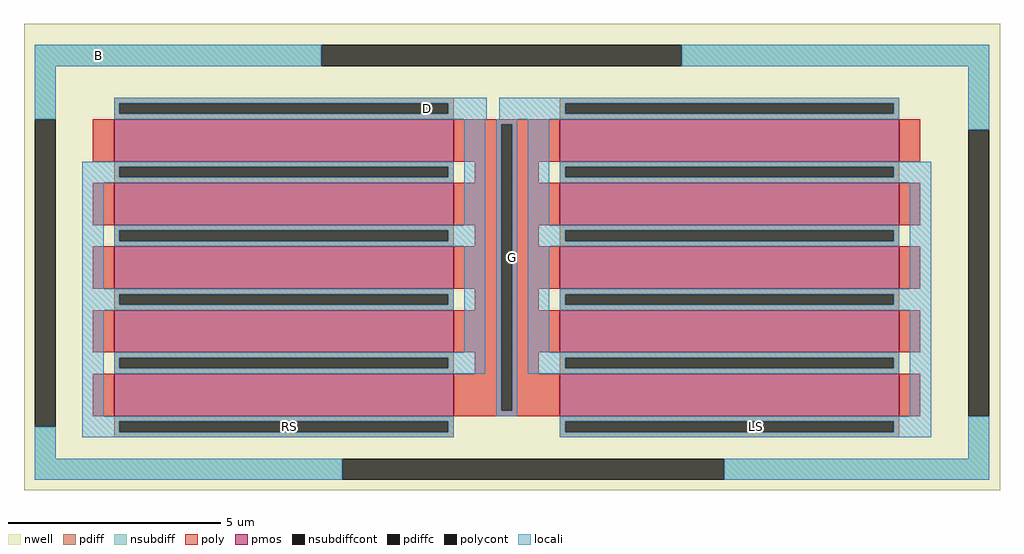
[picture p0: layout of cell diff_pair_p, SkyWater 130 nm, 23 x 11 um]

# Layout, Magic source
magic
tech sky130A
magscale 1 2
<< nwell >>
rect -1400 -1200 3200 1000
<< nsubdiff >>
rect -1350 800 0 900
rect 1700 800 3150 900
rect -1350 550 -1250 800
rect -1350 -1050 -1250 -900
rect 3050 500 3150 800
rect 3050 -1050 3150 -850
rect -1350 -1150 100 -1050
rect 1900 -1150 3150 -1050
<< nsubdiffcont >>
rect 0 800 1700 900
rect -1350 -900 -1250 550
rect 3050 -850 3150 500
rect 100 -1150 1900 -1050
<< locali >>
rect -1350 800 0 900
rect 1700 800 3150 900
rect -1350 550 -1250 800
rect 700 550 780 650
rect 840 550 1050 650
rect -1350 -1050 -1250 -900
rect 3050 500 3150 800
rect 3050 -1050 3150 -850
rect -1350 -1150 100 -1050
rect 1900 -1150 3150 -1050
use p40x1  p40x1_0
transform 1 0 1025 0 1 150
box -225 -1150 1875 550
use p40x1  p40x1_1
transform -1 0 725 0 1 150
box -225 -1150 1875 550
<< labels >>
flabel nwell 500 600 500 600 0 FreeSans 1600 0 0 0 D
port 0 nsew
flabel nwell 900 -100 900 -100 0 FreeSans 1600 0 0 0 G
port 1 nsew
flabel nwell -150 -900 -150 -900 0 FreeSans 1600 0 0 0 RS
port 2 nsew
flabel nwell 2050 -900 2050 -900 0 FreeSans 1600 0 0 0 LS
port 3 nsew
flabel nwell -1050 850 -1050 850 0 FreeSans 1600 0 0 0 B
port 4 nsew
<< properties >>
string diff_pair_p parameters
<< end >>

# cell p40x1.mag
magic
tech sky130A
magscale 1 2
<< nwell >>
rect -225 -1150 1875 550
<< pmos >>
rect 100 200 1700 400
rect 100 -100 1700 100
rect 100 -400 1700 -200
rect 100 -700 1700 -500
rect 100 -1000 1700 -800
<< pdiff >>
rect 100 475 1700 500
rect 100 425 125 475
rect 1675 425 1700 475
rect 100 400 1700 425
rect 100 175 1700 200
rect 100 125 125 175
rect 1675 125 1700 175
rect 100 100 1700 125
rect 100 -125 1700 -100
rect 100 -175 125 -125
rect 1675 -175 1700 -125
rect 100 -200 1700 -175
rect 100 -425 1700 -400
rect 100 -475 125 -425
rect 1675 -475 1700 -425
rect 100 -500 1700 -475
rect 100 -725 1700 -700
rect 100 -775 125 -725
rect 1675 -775 1700 -725
rect 100 -800 1700 -775
rect 100 -1025 1700 -1000
rect 100 -1075 125 -1025
rect 1675 -1075 1700 -1025
rect 100 -1100 1700 -1075
<< pdiffc >>
rect 125 425 1675 475
rect 125 125 1675 175
rect 125 -175 1675 -125
rect 125 -475 1675 -425
rect 125 -775 1675 -725
rect 125 -1075 1675 -1025
<< poly >>
rect -200 375 100 400
rect -200 -975 -175 375
rect -125 200 100 375
rect 1700 200 1800 400
rect -125 100 0 200
rect -125 -100 100 100
rect 1700 -100 1800 100
rect -125 -200 0 -100
rect -125 -400 100 -200
rect 1700 -400 1800 -200
rect -125 -500 0 -400
rect -125 -700 100 -500
rect 1700 -700 1800 -500
rect -125 -800 0 -700
rect -125 -975 100 -800
rect -200 -1000 100 -975
rect 1700 -1000 1800 -800
<< polycont >>
rect -175 -975 -125 375
<< locali >>
rect -50 475 1700 500
rect -50 425 125 475
rect 1675 425 1700 475
rect -50 400 1700 425
rect -200 375 -100 400
rect -200 -975 -175 375
rect -125 -975 -100 375
rect -50 -100 50 400
rect 100 175 1850 200
rect 100 125 125 175
rect 1675 125 1850 175
rect 100 100 1850 125
rect -50 -125 1700 -100
rect -50 -175 125 -125
rect 1675 -175 1700 -125
rect -50 -200 1700 -175
rect -50 -700 50 -200
rect 1750 -400 1850 100
rect 100 -425 1850 -400
rect 100 -475 125 -425
rect 1675 -475 1850 -425
rect 100 -500 1850 -475
rect -50 -725 1700 -700
rect -50 -775 125 -725
rect 1675 -775 1700 -725
rect -50 -800 1700 -775
rect -200 -1000 -100 -975
rect 1750 -1000 1850 -500
rect 100 -1025 1850 -1000
rect 100 -1075 125 -1025
rect 1675 -1075 1850 -1025
rect 100 -1100 1850 -1075
<< labels >>
flabel pdiffc 600 450 600 450 0 FreeSans 800 0 0 0 D
port 0 nsew
flabel pdiffc 625 -1050 625 -1050 0 FreeSans 800 0 0 0 S
port 2 nsew
flabel polycont -150 -300 -150 -300 0 FreeSans 800 0 0 0 G
port 1 nsew
flabel nwell -150 475 -150 475 0 FreeSans 800 0 0 0 B
port 3 nsew
<< end >>
